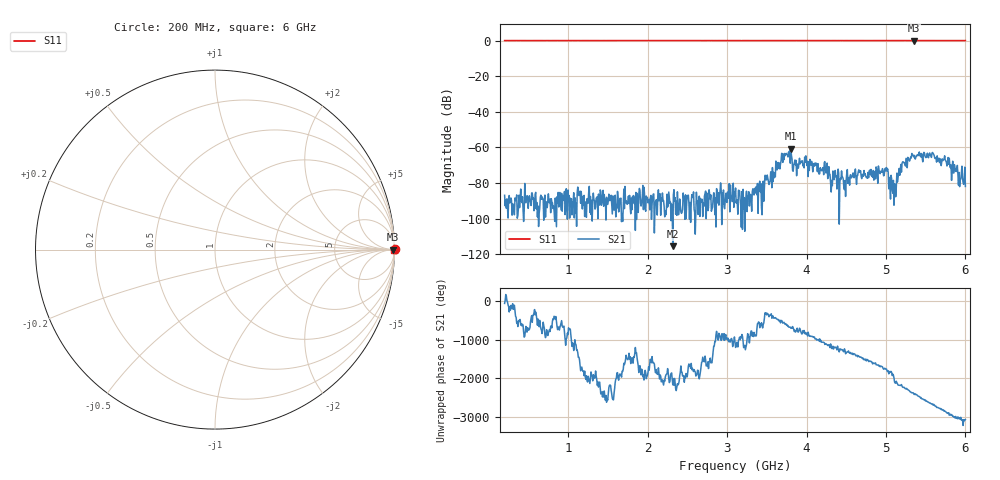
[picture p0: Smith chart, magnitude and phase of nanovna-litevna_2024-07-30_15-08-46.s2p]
! NanoVNA-App by OneOfEleven et al v1.1.209 (+OD15)
! Date: 2024-07-30 15:08:49
! Start: 200MHz Stop: 6GHz Points: 801
! S-Parameter data: F S11 S21 S12 S22
# Hz S RI R 50
!  Frequency  S11_Real  S11_Imag  S21_Real  S21_Imag  S12_Real  S12_Imag  S22_Real  S22_Imag
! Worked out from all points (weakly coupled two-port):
!   801 points, 200 MHz to 6 GHz, reference 50 ohm
!   highest |S21| = -60.74 dB at 3.803 GHz (marker M1); lowest = -115.5 dB at 2.317 GHz (marker M2)
!   lowest |S11| = -0.1 dB at 5.355 GHz (marker M3), VSWR 306.11, Z = 1.52e+04 - j1.38e+03 ohm
!   |S11| at or under -10 dB: nowhere
!   S12 and S22 are empty: the file has one direction only
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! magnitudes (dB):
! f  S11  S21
! 200 MHz  0.0  -86.9
! 1.171 GHz  0.0  -89.4
! 2.136 GHz  0.0  -83.8
! 2.317 GHz  0.0  -115.5
! 3.1 GHz  0.0  -87.2
! 3.441 GHz  0.0  -97.8
! 3.55 GHz  0.0  -73.7
! 3.716 GHz  0.0  -66.9
! 3.803 GHz  0.0  -60.7
! 3.854 GHz  0.0  -67.1
! 4.072 GHz  0.0  -69.2
! 4.231 GHz  0.0  -68.0
! 4.296 GHz  0.0  -75.2
! 4.478 GHz  0.0  -83.7
! 4.934 GHz  0.0  -73.4
! 5.036 GHz  0.0  -83.2
! 5.115 GHz  0.0  -80.8
! 5.231 GHz  0.0  -68.5
! 5.355 GHz  -0.1  -64.5
! 5.572 GHz  0.0  -65.6
! 5.768 GHz  0.0  -70.4
! 6 GHz  0.0  -81.9
